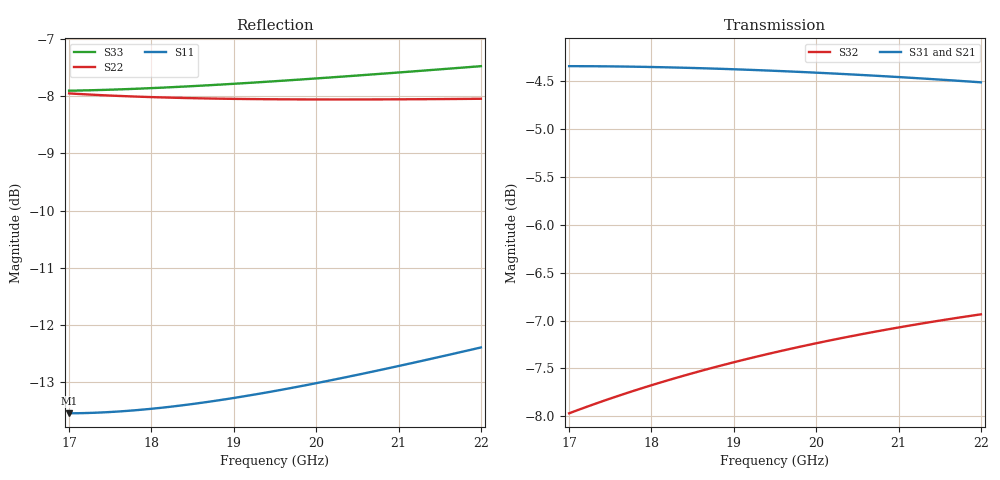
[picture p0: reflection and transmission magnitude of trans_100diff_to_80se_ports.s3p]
#  GHZ S DB R 50.0
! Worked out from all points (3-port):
!   51 points, 17 GHz to 22 GHz, reference 50 ohm
!   strongest paths, dB at 17 GHz, 18.2 GHz, 19.5 GHz, 20.8 GHz, 22 GHz:
!     S31: -4.3, -4.4, -4.4, -4.4, -4.5
!     S21: -4.5, -4.4, -4.4, -4.4, -4.4
!     S32: -8.0, -7.6, -7.3, -7.1, -6.9
!   lowest |S11| = -13.5 dB at 17 GHz (marker M1), VSWR 1.53, Z = 75.5 + j6.92 ohm
!   |S11| at or under -10 dB: start of sweep to end of sweep
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17  -13.54 12.0  -4.49 -173.7  -4.35 6.0
    -4.49 -173.7  -7.95 95.4  -7.97 73.4
    -4.35 6.0  -7.97 73.4  -7.90 92.5
17.3  -13.54 8.0  -4.47 -175.9  -4.35 3.9
      -4.47 -175.9  -7.98 92.5  -7.87 71.3
      -4.35 3.9  -7.87 71.3  -7.90 89.7
17.6  -13.51 4.1  -4.46 -178.0  -4.35 1.9
      -4.46 -178.0  -8.00 89.7  -7.79 69.3
      -4.35 1.9  -7.79 69.3  -7.88 87.0
18.2  -13.43 -3.3  -4.44 177.8  -4.36 -2.1
      -4.44 177.8  -8.02 84.4  -7.62 65.4
      -4.36 -2.1  -7.62 65.4  -7.85 81.9
18.8  -13.32 -10.2  -4.42 173.8  -4.37 -5.9
      -4.42 173.8  -8.04 79.5  -7.48 61.7
      -4.37 -5.9  -7.48 61.7  -7.80 77.2
19.5  -13.15 -17.7  -4.41 169.3  -4.39 -10.2
      -4.41 169.3  -8.05 74.3  -7.33 57.6
      -4.39 -10.2  -7.33 57.6  -7.74 72.1
20.1  -12.99 -23.6  -4.40 165.5  -4.42 -13.8
      -4.40 165.5  -8.06 70.1  -7.22 54.3
      -4.42 -13.8  -7.22 54.3  -7.68 68.1
20.7  -12.81 -29.2  -4.40 161.8  -4.44 -17.3
      -4.40 161.8  -8.06 66.2  -7.12 51.0
      -4.44 -17.3  -7.12 51.0  -7.62 64.3
21.3  -12.62 -34.4  -4.40 158.2  -4.48 -20.6
      -4.40 158.2  -8.05 62.6  -7.03 47.9
      -4.48 -20.6  -7.03 47.9  -7.55 60.8
22  -12.39 -40.1  -4.41 154.2  -4.51 -24.5
    -4.41 154.2  -8.05 58.7  -6.94 44.4
    -4.51 -24.5  -6.94 44.4  -7.48 57.0
